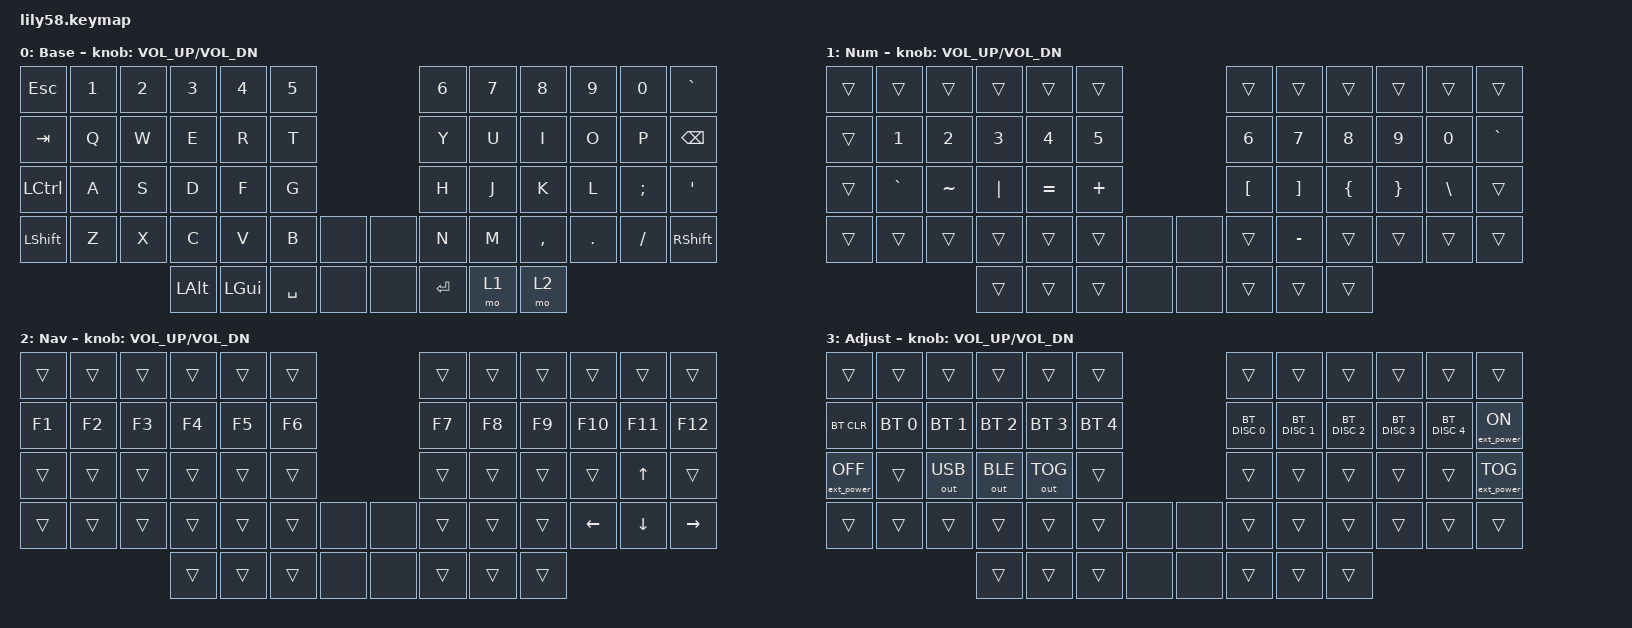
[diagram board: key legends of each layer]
/*
 * Copyright (c) 2020 The ZMK Contributors
 *
 * SPDX-License-Identifier: MIT
 */

#include <behaviors.dtsi>
#include <dt-bindings/zmk/bt.h>
#include <dt-bindings/zmk/ext_power.h>
#include <dt-bindings/zmk/keys.h>
#include <dt-bindings/zmk/outputs.h>

/ {
    combos { compatible = "zmk,combos"; };

    keymap {
        compatible = "zmk,keymap";

        base_layer {
            // ------------------------------------------------------------------------------------------------------------
            // |  ESC  |  1  |  2  |  3   |  4   |  5    |                  |  6   |  7   |  8    |  9   |   0   |   `   |
            // |  TAB  |  Q  |  W  |  E   |  R   |  T    |                  |  Y   |  U   |  I    |  O   |   P   | BSPC  |
            // |  CTRL |  A  |  S  |  D   |  F   |  G    |                  |  H   |  J   |  K    |  L   |   ;   |   '   |
            // | SHIFT |  Z  |  X  |  C   |  V   |  B    |      |  |        |  N   |  M   |  ,    |  .   |   /   | SHIFT |
            //                     | ALT  | GUI  | SPACE |      |  | ENTER | mo 1 | mo 2 |

            display-name = "Base";
            bindings = <
&kp ESC    &kp N1  &kp N2  &kp N3    &kp N4    &kp N5                          &kp N6   &kp N7  &kp N8     &kp N9   &kp N0    &kp GRAVE
&kp TAB    &kp Q   &kp W   &kp E     &kp R     &kp T                           &kp Y    &kp U   &kp I      &kp O    &kp P     &kp BSPC
&kp LCTRL  &kp A   &kp S   &kp D     &kp F     &kp G                           &kp H    &kp J   &kp K      &kp L    &kp SEMI  &kp SQT
&kp LSHFT  &kp Z   &kp X   &kp C     &kp V     &kp B    &none      &none       &kp N    &kp M   &kp COMMA  &kp DOT  &kp FSLH  &kp RSHFT
                           &kp LALT  &kp LGUI  &kp SPACE  &none    &none       &kp RET  &mo 1   &mo 2
            >;

            sensor-bindings = <&inc_dec_kp C_VOL_UP C_VOL_DN>;
        };

        num_layer {
            // ------------------------------------------------------------------------------------------------------------
            // |       |     |     |      |      |      |                   |      |       |       |      |       |       |
            // |       |  1  |  2  |  3   |  4   |  5   |                   |  6   |  7    |  8    |  9   |   0   |   `   |
            // |       |  `  |  ~  |  |   |  =   |  +   |                   |  [   |  ]    |  {    |  }   |   \   |       |
            // |       |     |     |      |      |      |       |  |        |      |  -    |       |      |       |       |
            //                     |      |      |       |       |  |       |      |       |       |

            display-name = "Num";
            bindings = <
&trans  &trans     &trans     &trans    &trans     &trans                       &trans    &trans     &trans     &trans    &trans    &trans
&trans  &kp N1     &kp N2     &kp N3    &kp N4     &kp N5                       &kp N6    &kp N7     &kp N8     &kp N9    &kp N0    &kp GRAVE
&trans  &kp GRAVE  &kp TILDE  &kp PIPE  &kp EQUAL  &kp PLUS                     &kp LBKT  &kp RBKT   &kp LBRC   &kp RBRC  &kp BSLH  &trans
&trans  &trans     &trans     &trans    &trans     &trans   &none    &none      &trans    &kp MINUS  &trans     &trans    &trans    &trans
                              &trans    &trans     &trans   &none    &none      &trans    &trans     &trans
            >;

            sensor-bindings = <&inc_dec_kp C_VOL_UP C_VOL_DN>;
        };

        nav_layer {
            // ------------------------------------------------------------------------------------------------------------
            // |       |     |     |      |      |      |                   |      |       |       |      |       |       |
            // |  F1   |  F2 |  F3 |  F4  |  F5  |  F6  |                   |  F7  |  F8   |  F9   |  F10 |  F11  |  F12  |
            // |       |     |     |      |      |      |                   |      |       |       |      |   ^   |       |
            // |       |     |     |      |      |      |       |  |        |      |       |       |  <-  |   v   |  ->   |
            //                     |      |      |       |       |  |       |      |       |       |

            display-name = "Nav";
            bindings = <
&trans  &trans  &trans  &trans  &trans  &trans                          &trans  &trans  &trans  &trans    &trans        &trans
&kp F1  &kp F2  &kp F3  &kp F4  &kp F5  &kp F6                          &kp F7  &kp F8  &kp F9  &kp F10   &kp F11       &kp F12
&trans  &trans  &trans  &trans  &trans  &trans                          &trans  &trans  &trans  &trans    &kp UP_ARROW  &trans
&trans  &trans  &trans  &trans  &trans  &trans   &none      &none       &trans  &trans  &trans  &kp LEFT  &kp DOWN      &kp RIGHT
                        &trans  &trans  &trans     &none    &none       &trans  &trans  &trans
            >;

            sensor-bindings = <&inc_dec_kp C_VOL_UP C_VOL_DN>;
        };

        adjust_layer {
            // ------------------------------------------------------------------------------------------------------------
            // |       |     |     |      |      |      |                   |      |       |       |      |       |       |
            // | BTCLR | BT0 | BT1 | BT2  | BT3  | BT4  |                   | BTD0 | BTD1  | BTD2  | BTD3 | BTD4  | EP ON |
            // | EP OFF|     | USB | BLE  | OUT  |      |                   |      |       |       |      |       | EPTOG |
            // |       |     |     |      |      |      |       |  |        |      |       |       |      |       |       |
            //                     |      |      |       |       |  |       |      |       |       |

            display-name = "Adjust";
            bindings = <
&trans             &trans        &trans        &trans        &trans        &trans                        &trans         &trans         &trans         &trans         &trans         &trans
&bt BT_CLR         &bt BT_SEL 0  &bt BT_SEL 1  &bt BT_SEL 2  &bt BT_SEL 3  &bt BT_SEL 4                  &bt BT_DISC 0  &bt BT_DISC 1  &bt BT_DISC 2  &bt BT_DISC 3  &bt BT_DISC 4  &ext_power EP_ON
&ext_power EP_OFF  &trans        &out OUT_USB  &out OUT_BLE  &out OUT_TOG  &trans                        &trans         &trans         &trans         &trans         &trans         &ext_power EP_TOG
&trans             &trans        &trans        &trans        &trans        &trans   &none      &none     &trans         &trans         &trans         &trans         &trans         &trans
                                               &trans        &trans        &trans   &none      &none     &trans         &trans         &trans
            >;

            sensor-bindings = <&inc_dec_kp C_VOL_UP C_VOL_DN>;
        };
    };

    conditional_layers {
        compatible = "zmk,conditional-layers";

        adjust {
            if-layers = <1 2>;
            then-layer = <3>;
        };
    };
};
